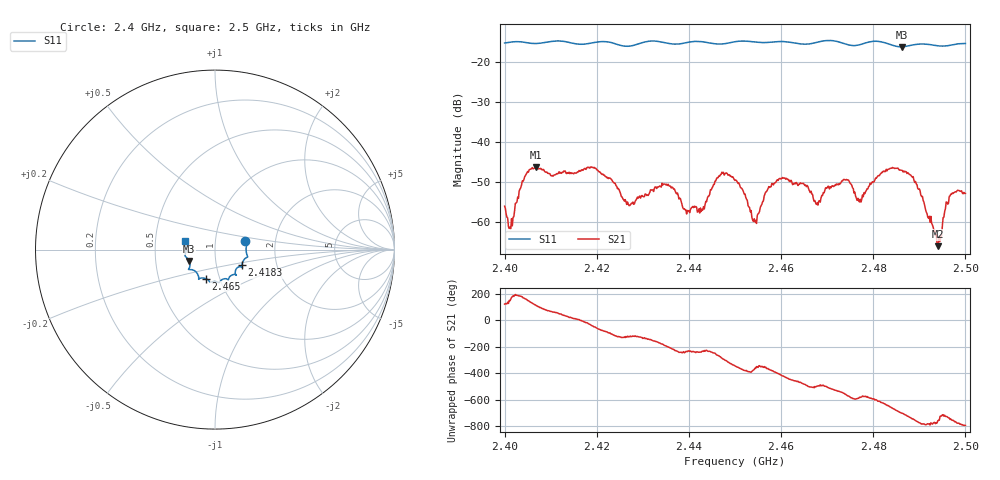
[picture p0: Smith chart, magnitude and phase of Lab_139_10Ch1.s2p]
# Hz S RI R 50
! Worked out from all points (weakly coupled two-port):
!   601 points, 2.4 GHz to 2.5 GHz, reference 50 ohm
!   highest |S21| = -46.17 dB at 2.4068 GHz (marker M1); lowest = -66.1 dB at 2.494 GHz (marker M2)
!   lowest |S11| = -16.1 dB at 2.4862 GHz (marker M3), VSWR 1.37, Z = 37.2 - j4.83 ohm
!   |S11| at or under -10 dB: start of sweep to end of sweep
!   S12 and S22 are empty: the file has one direction only
!   S11 on the Smith chart (normalised r, x): 2.4 GHz: 1.40, +0.14; 2.4183 GHz: 1.33, -0.24; 2.465 GHz: 0.86, -0.29; 2.5 GHz: 0.71, +0.07
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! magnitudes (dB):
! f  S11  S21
! 2.4 GHz  -15.1  -56.0
! 2.4013 GHz  -14.9  -61.7
! 2.4043 GHz  -14.9  -48.7
! 2.4068 GHz  -15.2  -46.2
! 2.4167 GHz  -15.4  -46.9
! 2.4183 GHz  -15.2  -46.3
! 2.427 GHz  -15.9  -55.9
! 2.4333 GHz  -14.7  -51.3
! 2.4423 GHz  -14.7  -57.7
! 2.447 GHz  -15.4  -48.1
! 2.45 GHz  -14.8  -49.6
! 2.4542 GHz  -14.8  -59.2
! 2.4593 GHz  -14.8  -49.6
! 2.465 GHz  -15.4  -50.6
! 2.4667 GHz  -15.2  -53.0
! 2.4742 GHz  -15.4  -49.3
! 2.477 GHz  -15.6  -54.9
! 2.4833 GHz  -15.3  -46.7
! 2.4862 GHz  -16.1  -47.0
! 2.494 GHz  -15.8  -66.1
! 2.497 GHz  -15.6  -53.0
! 2.5 GHz  -15.2  -52.8
